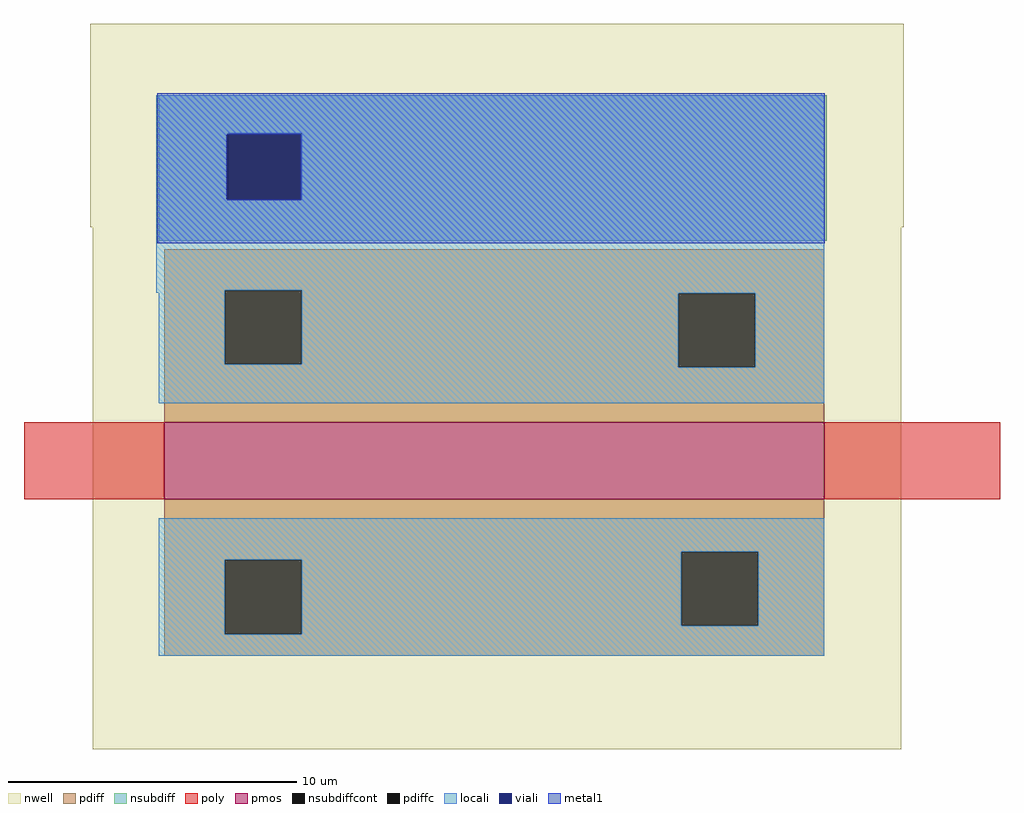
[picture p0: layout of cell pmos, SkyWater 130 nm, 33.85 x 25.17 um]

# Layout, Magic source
magic
tech sky130A
<< nwell >>
rect -1550 784 1272 1490
rect -1541 -1027 1263 784
<< pmos >>
rect -1293 -160 996 107
<< pdiff >>
rect -1293 565 996 708
rect -1293 308 -1083 565
rect -816 555 996 565
rect -816 308 490 555
rect -1293 298 490 308
rect 757 298 996 555
rect -1293 107 996 298
rect -1293 -341 996 -160
rect -1293 -370 500 -341
rect -1293 -627 -1083 -370
rect -816 -598 500 -370
rect 767 -598 996 -341
rect -816 -627 996 -598
rect -1293 -703 996 -627
<< pdiffc >>
rect -1083 308 -816 565
rect 490 298 757 555
rect -1083 -627 -816 -370
rect 500 -598 767 -341
<< nsubdiff >>
rect -1312 1109 1005 1242
rect -1312 880 -1073 1109
rect -816 880 1005 1109
rect -1312 737 1005 880
<< nsubdiffcont >>
rect -1073 880 -816 1109
<< poly >>
rect -1779 -160 -1293 107
rect 996 -160 1606 107
<< locali >>
rect -1321 1109 996 1242
rect -1321 1106 -1073 1109
rect -1321 879 -1076 1106
rect -816 880 996 1109
rect -819 879 996 880
rect -1321 565 996 879
rect -1321 556 -1083 565
rect -1312 308 -1083 556
rect -816 555 996 565
rect -816 308 490 555
rect -1312 298 490 308
rect 757 298 996 555
rect -1312 174 996 298
rect -1312 -341 996 -226
rect -1312 -370 500 -341
rect -1312 -627 -1083 -370
rect -816 -598 500 -370
rect 767 -598 996 -341
rect -816 -627 996 -598
rect -1312 -703 996 -627
<< viali >>
rect -1076 880 -1073 1106
rect -1073 880 -819 1106
rect -1076 879 -819 880
<< metal1 >>
rect -1317 1106 998 1249
rect -1317 879 -1076 1106
rect -819 879 998 1106
rect -1317 729 998 879
<< end >>
